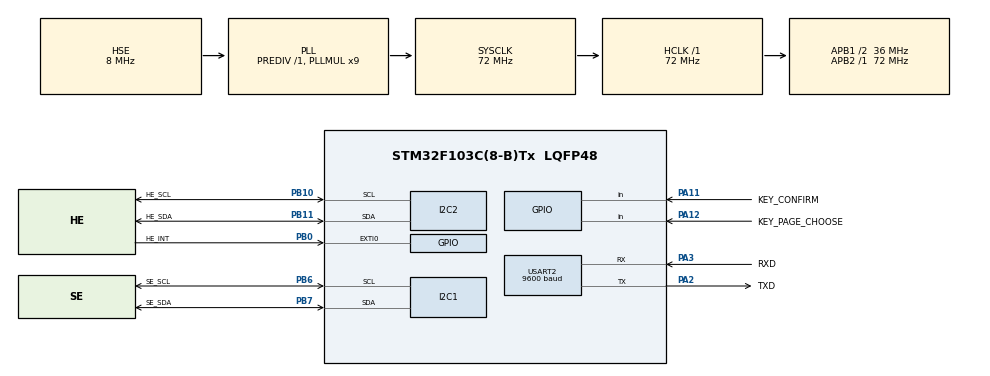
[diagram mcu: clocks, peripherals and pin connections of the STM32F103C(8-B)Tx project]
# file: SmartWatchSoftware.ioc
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FREERTOS.Mutexes01=stepCntGetterMutex,Dynamic,NULL;healthyGetterMutex,Dynamic,NULL
FREERTOS.Tasks01=frontendTask,0,256,FrontendRun,Default,NULL,Dynamic,NULL,NULL;backendTask,0,256,BackendRun,Default,NULL,Dynamic,NULL,NULL
FREERTOS.Timers01=keyScanTimer,KeyScanTimerCallback,osTimerPeriodic,Default,NULL,Dynamic,NULL;stopwatchTimer,StopwatchCallback,osTimerPeriodic,Default,NULL,Dynamic,NULL;dataSendTimer,DataSendCallback,osTimerPeriodic,Default,NULL,Dynamic,NULL
FREERTOS.configTIMER_TASK_PRIORITY=6
FREERTOS.configUSE_COUNTING_SEMAPHORES=0
FREERTOS.configUSE_RECURSIVE_MUTEXES=0
FREERTOS.configUSE_TIMERS=1
Mcu.Family=STM32F1
Mcu.Name=STM32F103C(8-B)Tx
Mcu.Package=LQFP48
NVIC.EXTI0_IRQn=true\:5\:0\:false\:false\:true\:true\:true\:true\:true
NVIC.PriorityGroup=NVIC_PRIORITYGROUP_4
NVIC.RTC_IRQn=true\:5\:0\:false\:false\:true\:true\:true\:true\:true
NVIC.TIM1_UP_IRQn=true\:15\:0\:false\:false\:true\:false\:false\:true\:true
NVIC.TimeBase=TIM1_UP_IRQn
NVIC.TimeBaseIP=TIM1
NVIC.USART2_IRQn=true\:5\:0\:false\:false\:true\:true\:true\:true\:true
PA11.GPIO_Label=KEY_CONFIRM
PA11.GPIO_PuPd=GPIO_PULLUP
PA11.Signal=GPIO_Input
PA12.GPIO_Label=KEY_PAGE_CHOOSE
PA12.GPIO_PuPd=GPIO_PULLUP
PA12.Signal=GPIO_Input
PA13.GPIO_Label=SWDIO
PA13.Mode=Serial_Wire
PA13.Signal=SYS_JTMS-SWDIO
PA14.GPIO_Label=SWCLK
PA14.Mode=Serial_Wire
PA14.Signal=SYS_JTCK-SWCLK
PA2.GPIO_Label=TXD
PA2.Mode=Asynchronous
PA2.Signal=USART2_TX
PA3.GPIO_Label=RXD
PA3.Mode=Asynchronous
PA3.Signal=USART2_RX
PB0.GPIO_Label=HE_INT
PB0.GPIO_ModeDefaultEXTI=GPIO_MODE_IT_FALLING
PB0.GPIO_PuPd=GPIO_PULLUP
PB0.Signal=GPXTI0
PB10.GPIO_Label=HE_SCL
PB10.Mode=I2C
PB10.Signal=I2C2_SCL
PB11.GPIO_Label=HE_SDA
PB11.Mode=I2C
PB11.Signal=I2C2_SDA
PB6.GPIO_Label=SE_SCL
PB6.Mode=I2C
PB6.Signal=I2C1_SCL
PB7.GPIO_Label=SE_SDA
PB7.Mode=I2C
PB7.Signal=I2C1_SDA
PC14-OSC32_IN.GPIO_Label=OSC32_IN
PC14-OSC32_IN.Mode=LSE-External-Oscillator
PC14-OSC32_IN.Signal=RCC_OSC32_IN
PC15-OSC32_OUT.GPIO_Label=OSC32_OUT
PC15-OSC32_OUT.Mode=LSE-External-Oscillator
PC15-OSC32_OUT.Signal=RCC_OSC32_OUT
PD0-OSC_IN.GPIO_Label=OSC_IN
PD0-OSC_IN.Mode=HSE-External-Oscillator
PD0-OSC_IN.Signal=RCC_OSC_IN
PD1-OSC_OUT.GPIO_Label=OSC_OUT
PD1-OSC_OUT.Mode=HSE-External-Oscillator
PD1-OSC_OUT.Signal=RCC_OSC_OUT
ProjectManager.HeapSize=0xC00
ProjectManager.StackSize=0x1000
ProjectManager.TargetToolchain=Makefile
RCC.AHBFreq_Value=72000000
RCC.APB1CLKDivider=RCC_HCLK_DIV2
RCC.APB1Freq_Value=36000000
RCC.APB1TimFreq_Value=72000000
RCC.APB2Freq_Value=72000000
RCC.APB2TimFreq_Value=72000000
RCC.HCLKFreq_Value=72000000
RCC.PLLMUL=RCC_PLL_MUL9
RCC.PLLSourceVirtual=RCC_PLLSOURCE_HSE
RCC.RTCClockSelection=RCC_RTCCLKSOURCE_HSE_DIV128
RCC.SYSCLKFreq_VALUE=72000000
RCC.SYSCLKSource=RCC_SYSCLKSOURCE_PLLCLK
RCC.USBFreq_Value=72000000
USART2.BaudRate=9600
USART2.VirtualMode=VM_ASYNC
VP_FREERTOS_VS_CMSIS_V1.Mode=CMSIS_V1
VP_RTC_No_RTC_Output.Mode=RTC_OUT_NO
VP_RTC_VS_RTC_Activate.Mode=RTC_Enabled
VP_RTC_VS_RTC_Calendar.Mode=RTC_Calendar
VP_SYS_VS_tim1.Mode=TIM1
board=custom

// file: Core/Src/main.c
/* USER CODE BEGIN Header */
/**
  ******************************************************************************
  * @file           : main.c
  * @brief          : Main program body
  ******************************************************************************
  * @attention
  *
  * Copyright (c) 2023 STMicroelectronics.
  * All rights reserved.
  *
  * This software is licensed under terms that can be found in the LICENSE file
  * in the root directory of this software component.
  * If no LICENSE file comes with this software, it is provided AS-IS.
  *
  ******************************************************************************
  */
/* USER CODE END Header */
#include "main.h"
#include "cmsis_os.h"
#include "i2c.h"
#include "rtc.h"
#include "usart.h"
#include "gpio.h"

void SystemClock_Config(void);
void MX_FREERTOS_Init(void);
/* USER CODE BEGIN PFP */
void Objects_Init();
/* USER CODE END PFP */

int main(void)
{

  /* MCU Configuration--------------------------------------------------------*/

  /* Reset of all peripherals, Initializes the Flash interface and the Systick. */
  HAL_Init();

  /* Configure the system clock */
  SystemClock_Config();

  /* Initialize all configured peripherals */
  MX_GPIO_Init();
  MX_I2C1_Init();
  MX_I2C2_Init();
  MX_USART2_UART_Init();
  MX_RTC_Init();
  /* USER CODE BEGIN 2 */
  HAL_Delay(1000);
  Objects_Init();
  /* USER CODE END 2 */

  /* Call init function for freertos objects (in freertos.c) */
  MX_FREERTOS_Init();

  /* Start scheduler */
  osKernelStart();
  /* We should never get here as control is now taken by the scheduler */
  /* Infinite loop */
  while (1)
  {

  }
}

void SystemClock_Config(void)
{
  RCC_OscInitTypeDef RCC_OscInitStruct = {0};
  RCC_ClkInitTypeDef RCC_ClkInitStruct = {0};
  RCC_PeriphCLKInitTypeDef PeriphClkInit = {0};

  /** Initializes the RCC Oscillators according to the specified parameters
  * in the RCC_OscInitTypeDef structure.
  */
  RCC_OscInitStruct.OscillatorType = RCC_OSCILLATORTYPE_HSE;
  RCC_OscInitStruct.HSEState = RCC_HSE_ON;
  RCC_OscInitStruct.HSEPredivValue = RCC_HSE_PREDIV_DIV1;
  RCC_OscInitStruct.HSIState = RCC_HSI_ON;
  RCC_OscInitStruct.PLL.PLLState = RCC_PLL_ON;
  RCC_OscInitStruct.PLL.PLLSource = RCC_PLLSOURCE_HSE;
  RCC_OscInitStruct.PLL.PLLMUL = RCC_PLL_MUL9;
  if (HAL_RCC_OscConfig(&RCC_OscInitStruct) != HAL_OK)
  {
    Error_Handler();
  }

  /** Initializes the CPU, AHB and APB buses clocks
  */
  RCC_ClkInitStruct.ClockType = RCC_CLOCKTYPE_HCLK|RCC_CLOCKTYPE_SYSCLK
                              |RCC_CLOCKTYPE_PCLK1|RCC_CLOCKTYPE_PCLK2;
  RCC_ClkInitStruct.SYSCLKSource = RCC_SYSCLKSOURCE_PLLCLK;
  RCC_ClkInitStruct.AHBCLKDivider = RCC_SYSCLK_DIV1;
  RCC_ClkInitStruct.APB1CLKDivider = RCC_HCLK_DIV2;
  RCC_ClkInitStruct.APB2CLKDivider = RCC_HCLK_DIV1;

  if (HAL_RCC_ClockConfig(&RCC_ClkInitStruct, FLASH_LATENCY_2) != HAL_OK)
  {
    Error_Handler();
  }
  PeriphClkInit.PeriphClockSelection = RCC_PERIPHCLK_RTC;
  PeriphClkInit.RTCClockSelection = RCC_RTCCLKSOURCE_HSE_DIV128;
  if (HAL_RCCEx_PeriphCLKConfig(&PeriphClkInit) != HAL_OK)
  {
    Error_Handler();
  }
}

void HAL_TIM_PeriodElapsedCallback(TIM_HandleTypeDef *htim)
{
  if (htim->Instance == TIM1) {
    HAL_IncTick();
  }
}

void Error_Handler(void)
{
  __disable_irq();
  while (1)
  {
  }
}

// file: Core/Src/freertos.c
/* USER CODE BEGIN Header */
/**
  ******************************************************************************
  * File Name          : freertos.c
  * Description        : Code for freertos applications
  ******************************************************************************
  * @attention
  *
  * Copyright (c) 2023 STMicroelectronics.
  * All rights reserved.
  *
  * This software is licensed under terms that can be found in the LICENSE file
  * in the root directory of this software component.
  * If no LICENSE file comes with this software, it is provided AS-IS.
  *
  ******************************************************************************
  */
/* USER CODE END Header */

#include "FreeRTOS.h"
#include "task.h"
#include "main.h"
#include "cmsis_os.h"

/* USER CODE BEGIN Includes */
#include "oled.h"
#include "hc06.h"
#include "max30102.h"
#include "adxl345.h"
#include "gpio.h"
#include <stdbool.h>
#include <string.h>
#include <stdio.h>
#include <stdlib.h>
/* USER CODE END Includes */

/* USER CODE BEGIN PM */
#define SEND_DATA_TO_BLUETOOTH(hc06_obj_ptr, msg_type, data) \
  do  \
  { \
    char msg[16]; \
    msg[0] = msg_type;  \
    msg[1] = snprintf(msg+2, sizeof(msg)-2, "%d", (int)data); \
    HC06_SendMsg(hc06_obj_ptr, msg, 2+msg[1]);  \
  } while (0)

/* USER CODE END PM */

/* USER CODE BEGIN Variables */
bool is_sys_shutdown;
user_key_t page_key_obj, confirm_key_obj;
adxl345_t adxl345_obj;
screen_manager_t screen_obj;
max30102_t max30102_obj;
hc06_t hc06_obj;
coming_call_handler_t coming_call_handler_obj;
/* USER CODE END Variables */
osThreadId frontendTaskHandle;
osThreadId backendTaskHandle;
osTimerId keyScanTimerHandle;
osTimerId stopwatchTimerHandle;
osTimerId dataSendTimerHandle;
osMutexId stepCntGetterMutexHandle;
osMutexId healthyGetterMutexHandle;

void FrontendRun(void const * argument);
void BackendRun(void const * argument);
void KeyScanTimerCallback(void const * argument);
void StopwatchCallback(void const * argument);
void DataSendCallback(void const * argument);

void MX_FREERTOS_Init(void); /* (MISRA C 2004 rule 8.1) */

/* GetIdleTaskMemory prototype (linked to static allocation support) */
void vApplicationGetIdleTaskMemory( StaticTask_t **ppxIdleTaskTCBBuffer, StackType_t **ppxIdleTaskStackBuffer, uint32_t *pulIdleTaskStackSize );

/* GetTimerTaskMemory prototype (linked to static allocation support) */
void vApplicationGetTimerTaskMemory( StaticTask_t **ppxTimerTaskTCBBuffer, StackType_t **ppxTimerTaskStackBuffer, uint32_t *pulTimerTaskStackSize );

/* USER CODE BEGIN GET_IDLE_TASK_MEMORY */
static StaticTask_t xIdleTaskTCBBuffer;
static StackType_t xIdleStack[configMINIMAL_STACK_SIZE];

void vApplicationGetIdleTaskMemory( StaticTask_t **ppxIdleTaskTCBBuffer, StackType_t **ppxIdleTaskStackBuffer, uint32_t *pulIdleTaskStackSize )
{
  *ppxIdleTaskTCBBuffer = &xIdleTaskTCBBuffer;
  *ppxIdleTaskStackBuffer = &xIdleStack[0];
  *pulIdleTaskStackSize = configMINIMAL_STACK_SIZE;
  /* place for user code */
}
/* USER CODE END GET_IDLE_TASK_MEMORY */

/* USER CODE BEGIN GET_TIMER_TASK_MEMORY */
static StaticTask_t xTimerTaskTCBBuffer;
static StackType_t xTimerStack[configTIMER_TASK_STACK_DEPTH];

void vApplicationGetTimerTaskMemory( StaticTask_t **ppxTimerTaskTCBBuffer, StackType_t **ppxTimerTaskStackBuffer, uint32_t *pulTimerTaskStackSize )
{
  *ppxTimerTaskTCBBuffer = &xTimerTaskTCBBuffer;
  *ppxTimerTaskStackBuffer = &xTimerStack[0];
  *pulTimerTaskStackSize = configTIMER_TASK_STACK_DEPTH;
  /* place for user code */
}
/* USER CODE END GET_TIMER_TASK_MEMORY */

void MX_FREERTOS_Init(void) {
  /* Create the mutex(es) */
  /* definition and creation of stepCntGetterMutex */
  osMutexDef(stepCntGetterMutex);
  stepCntGetterMutexHandle = osMutexCreate(osMutex(stepCntGetterMutex));

  /* definition and creation of healthyGetterMutex */
  osMutexDef(healthyGetterMutex);
  healthyGetterMutexHandle = osMutexCreate(osMutex(healthyGetterMutex));

  /* Create the timer(s) */
  /* definition and creation of keyScanTimer */
  osTimerDef(keyScanTimer, KeyScanTimerCallback);
  keyScanTimerHandle = osTimerCreate(osTimer(keyScanTimer), osTimerPeriodic, NULL);

  /* definition and creation of stopwatchTimer */
  osTimerDef(stopwatchTimer, StopwatchCallback);
  stopwatchTimerHandle = osTimerCreate(osTimer(stopwatchTimer), osTimerPeriodic, NULL);

  /* definition and creation of dataSendTimer */
  osTimerDef(dataSendTimer, DataSendCallback);
  dataSendTimerHandle = osTimerCreate(osTimer(dataSendTimer), osTimerPeriodic, NULL);

  /* Create the thread(s) */
  /* definition and creation of frontendTask */
  osThreadDef(frontendTask, FrontendRun, osPriorityNormal, 0, 256);
  frontendTaskHandle = osThreadCreate(osThread(frontendTask), NULL);

  /* definition and creation of backendTask */
  osThreadDef(backendTask, BackendRun, osPriorityNormal, 0, 256);
  backendTaskHandle = osThreadCreate(osThread(backendTask), NULL);

}

void FrontendRun(void const * argument)
{
  /* USER CODE BEGIN FrontendRun */
  osDelay(500);
  Screen_Clear();
  osTimerStart(keyScanTimerHandle, KEY_TIMER_PERIOD_MS);
  osTimerStart(stopwatchTimerHandle, 10);
  osTimerStart(dataSendTimerHandle, 1000);
  /* Infinite loop */
  for (;;)
  {
    if (is_sys_shutdown)  continue;
    // Call coming
    if (ComingCallHandler_IsNewCallComing(&coming_call_handler_obj))
    {
      screen_obj.is_in_coming_call = true;
    }
    // Call cancel
    if (ComingCallHandler_IsCallHandled(&coming_call_handler_obj))
    {
      screen_obj.is_in_coming_call = false;
    }
    ScreenManager_Schedule(&screen_obj);
  }
  /* USER CODE END FrontendRun */
}

void BackendRun(void const * argument)
{
  /* USER CODE BEGIN BackendRun */

  /* Infinite loop */
  for (;;)
  {
    if (is_sys_shutdown)  continue;
    // Heart rate & spO2
    MAX30102_DoSample(&max30102_obj);
    // Count steps
    ADXL345_DoStepCnt(&adxl345_obj);
  }
  /* USER CODE END BackendRun */
}

/* KeyScanTimerCallback function */
void KeyScanTimerCallback(void const * argument)
{
  /* USER CODE BEGIN KeyScanTimerCallback */
  switch (KeyScan(&page_key_obj))
  {
  case KEY_ON:
    if (!screen_obj.is_in_coming_call)
    {
      if (ScreenManager_IsInStopwatch(&screen_obj))
        screen_obj.stopwatch_page.is_started = !screen_obj.stopwatch_page.is_started;
      else
        ScreenManager_PageSwitch(&screen_obj);
    }
    else
      screen_obj.coming_call_page.is_accept_call = !screen_obj.coming_call_page.is_accept_call;
    break;

  case KEY_LONG_ON:
    if (is_sys_shutdown)
    {
      is_sys_shutdown = false;
      ScreenManager_ShowStart(&screen_obj);
      Screen_Clear();
    }
    else
    {
      is_sys_shutdown = true;
      ScreenManager_ShowStop(&screen_obj);
    }
    break;

  default:
    break;
  }

  switch (KeyScan(&confirm_key_obj))
  {
  case KEY_ON:
    if (screen_obj.is_in_coming_call)
    {
      screen_obj.is_in_coming_call = false;
      // Notify bluetooth to do work
      ComingCallHandler_SetChoice(&coming_call_handler_obj, screen_obj.coming_call_page.is_accept_call);
    }
    else
    {
      ScreenManager_IntoNextLevelMenu(&screen_obj);
    }
    break;

  default:
    break;
  }
  /* USER CODE END KeyScanTimerCallback */
}

/* StopwatchCallback function */
void StopwatchCallback(void const * argument)
{
  /* USER CODE BEGIN StopwatchCallback */
  if (screen_obj.stopwatch_page.is_started)
    ++screen_obj.stopwatch_page.time_count;
  /* USER CODE END StopwatchCallback */
}

/* DataSendCallback function */
void DataSendCallback(void const * argument)
{
  /* USER CODE BEGIN DataSendCallback */
  // Send data to APP by Bluetooth
  SEND_DATA_TO_BLUETOOTH(&hc06_obj, MSG_TYPE_STEPCNT, screen_obj.pedometer_page.step_cnt);
  SEND_DATA_TO_BLUETOOTH(&hc06_obj, MSG_TYPE_KAL, screen_obj.pedometer_page.kal);
  SEND_DATA_TO_BLUETOOTH(&hc06_obj, MSG_TYPE_HEART_RATE, screen_obj.healthy_page.heart_rate);
  SEND_DATA_TO_BLUETOOTH(&hc06_obj, MSG_TYPE_SPO2, screen_obj.healthy_page.spo2);
  /* USER CODE END DataSendCallback */
}

/* USER CODE BEGIN Application */
void Objects_Init()
{
  is_sys_shutdown = false;
  // Init Keys
  KeyInit(&page_key_obj, PAGE_CHOOSE_KEY);
  KeyInit(&confirm_key_obj, CONFIRM_KEY);
  // Init Screen
  ScreenManager_Ctor(&screen_obj);
  // Init MAX30102
  MAX30102_Init(&max30102_obj);
  // Init ADXL345
  ADXL345_Init(&adxl345_obj);
  // Init HC-06
  HC06_Init(&hc06_obj);
  // Init Coming call handler
  ComingCallHandler_Init(&coming_call_handler_obj, &hc06_obj);
}

void HAL_UART_RxCpltCallback(UART_HandleTypeDef *huart)
{
  switch (HC06_HandleMsg(&hc06_obj))
  {
  case MSG_TYPE_COMING_CALL_NOTIFY:

    ComingCallHandler_NewCallNotify(&coming_call_handler_obj);
    break;

  case MSG_TYPE_CALL_HANGUP_NOTIFY:
    ComingCallHandler_PeerHangupNotify(&coming_call_handler_obj);
    break;

  case MSG_TYPE_CALL_ACCEPT_NOTIFY:
    ComingCallHandler_AcceptCallNotify(&coming_call_handler_obj);
    break;

  case MSG_TYPE_NOT_COMPLETED:
  default:
    break;
  }
}

#ifdef __GNUC__
#define PUTCHAR_PROTOTYPE int __io_putchar(int ch)
#else
#define PUTCHAR_PROTOTYPE int fputc(int ch, FILE *f)
#endif
// 重定向printf到串口USART2（蓝牙）
PUTCHAR_PROTOTYPE
{
    HC06_SendMsg(&hc06_obj, (char*)&ch, 1);
    return ch;
}
/* USER CODE END Application */
